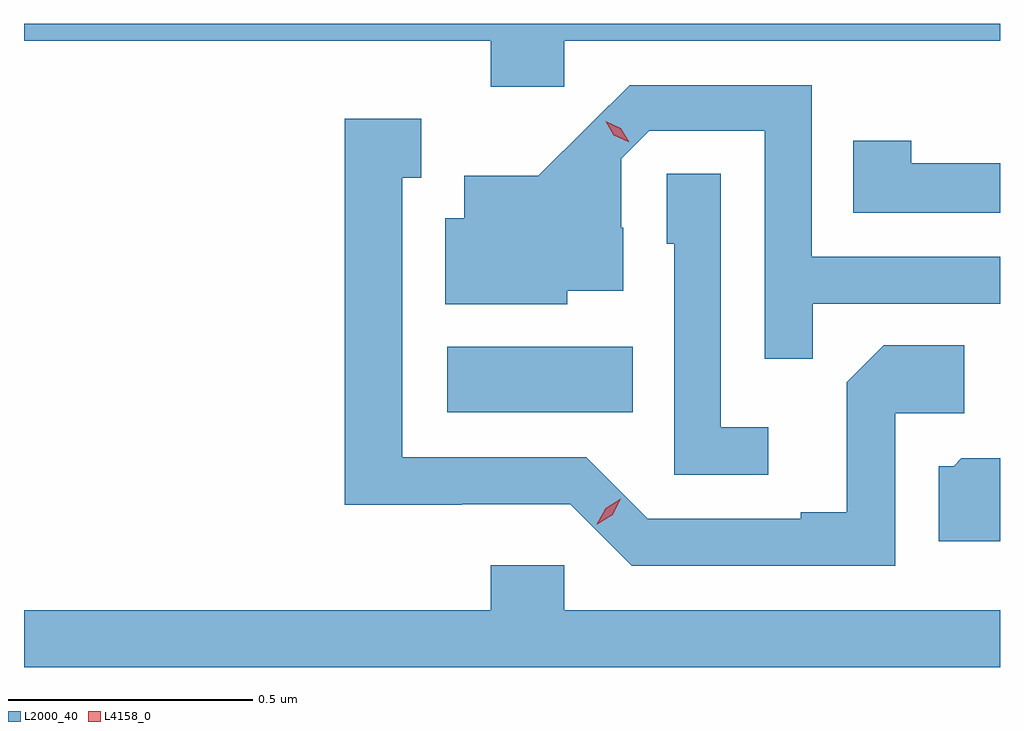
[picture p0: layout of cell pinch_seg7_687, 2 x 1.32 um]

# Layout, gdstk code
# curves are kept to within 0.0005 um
import gdstk
lib = gdstk.Library(unit=1e-6, precision=1e-09)
def R(c, l, rs):  # rectangles x0, y0, x1, y1
    for r in rs: c.add(gdstk.rectangle(r[:2], r[2:], *l))
def P(c, l, *ps):  # polygons
    for p in ps: c.add(gdstk.Polygon(p, *l))
L2000_40 = (2000, 40)
L4158_0 = (4158, 0)

pinch_seg7_687 = lib.new_cell('pinch_seg7_687')
R(pinch_seg7_687, L2000_40, [(143.148,998.522,143.528,998.656)])
P(pinch_seg7_687, L2000_40, [(143.388,999.284),(144.281,999.284),(144.281,999.318),(142.281,999.318),(142.281,999.284),(143.237,999.284),(143.237,999.189),(143.388,999.189)],
  [(143.897,998.745),(144.281,998.745),(144.281,998.841),(143.895,998.841),(143.895,999.192),(143.522,999.192),(143.335,999.007),(143.183,999.007),(143.183,998.92),(143.144,998.92),(143.144,998.744),(143.394,998.744),(143.394,998.771),(143.509,998.771),(143.509,998.9),(143.505,998.9),(143.505,999.042),(143.562,999.099),(143.799,999.099),(143.799,998.632),(143.897,998.632)],
  [(144.066,998.52),(144.208,998.52),(144.208,998.66),(144.043,998.66),(143.967,998.584),(143.967,998.317),(143.873,998.317),(143.873,998.304),(143.559,998.304),(143.433,998.43),(143.056,998.43),(143.056,999.003),(143.095,999.003),(143.095,999.124),(142.938,999.124),(142.938,998.333),(143.178,998.333),(143.178,998.334),(143.4,998.334),(143.526,998.208),(144.066,998.208)],
  [(144.281,999.032),(144.099,999.032),(144.099,999.079),(143.98,999.079),(143.98,998.931),(144.281,998.931)],
  [(143.806,998.491),(143.709,998.491),(143.709,999.011),(143.598,999.011),(143.598,998.868),(143.613,998.868),(143.613,998.394),(143.806,998.394)],
  [(144.281,998.428),(144.202,998.428),(144.186,998.412),(144.155,998.412),(144.155,998.258),(144.281,998.258)],
  [(144.281,998.116),(143.388,998.116),(143.388,998.209),(143.237,998.209),(143.237,998.116),(142.281,998.116),(142.281,998),(144.281,998)])
P(pinch_seg7_687, L4158_0, [(143.521,999.075),(143.49,999.09),(143.473,999.119),(143.473,999.119),(143.473,999.119),(143.504,999.104),(143.521,999.075),(143.521,999.075)],
  [(143.455,998.293),(143.455,998.293),(143.473,998.326),(143.504,998.345),(143.504,998.345),(143.504,998.345),(143.487,998.312),(143.456,998.293)])

lib.write_gds('pinch_seg7_687.gds')
